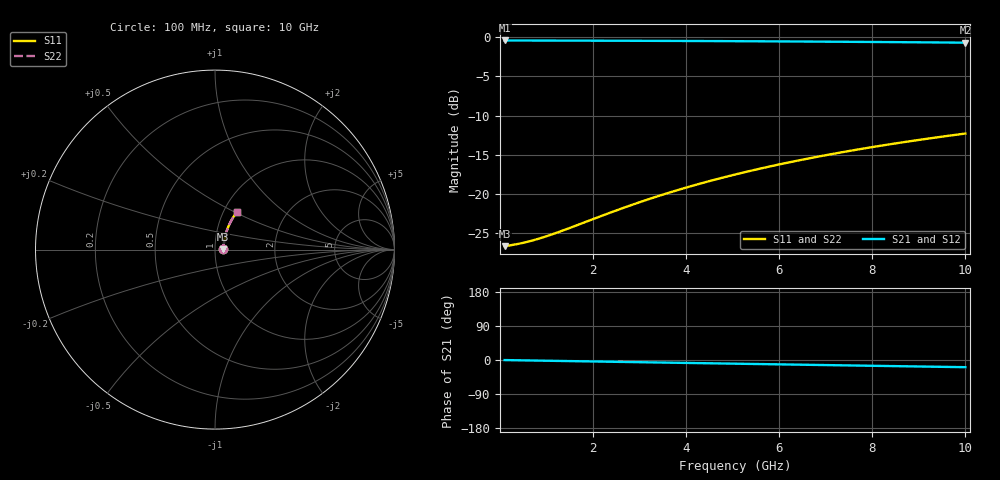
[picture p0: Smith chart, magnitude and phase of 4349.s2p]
# Hz S RI R 50.00
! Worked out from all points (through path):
!   100 points, 100 MHz to 10 GHz, reference 50 ohm
!   highest |S21| = -0.41 dB at 100 MHz (marker M1); lowest = -0.7 dB at 10 GHz (marker M2)
!   group delay of S21, straight-line fit = 5.27 ps
!   lowest |S11| = -26.7 dB at 100 MHz (marker M3), VSWR 1.10, Z = 54.8 + j0.255 ohm
!   |S11| at or under -10 dB: start of sweep to end of sweep
!   |S22| runs from -26.7 to -12.3 dB; largest |S21 - S12| = 0
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1e8  0.0462 0.00232  0.9538 -0.00322  0.9538 -0.00322  0.0462 0.00232
3e8  0.0468 0.00695  0.9532 -0.00966  0.9532 -0.00966  0.0468 0.00695
5e8  0.0472 0.0116  0.9528 -0.0161  0.9528 -0.0161  0.0472 0.0116
8e8  0.0479 0.0185  0.9521 -0.0257  0.9521 -0.0257  0.0479 0.0185
1e9  0.0483 0.0231  0.9516 -0.0321  0.9516 -0.0321  0.0483 0.0231
1.2e9  0.0488 0.0277  0.9511 -0.0385  0.9511 -0.0385  0.0488 0.0277
1.8e9  0.0506 0.0414  0.9493 -0.0577  0.9493 -0.0577  0.0506 0.0414
2.3e9  0.0524 0.0528  0.9473 -0.0736  0.9473 -0.0736  0.0524 0.0528
2.7e9  0.0541 0.0619  0.9455 -0.0862  0.9455 -0.0862  0.0541 0.0619
3.1e9  0.0561 0.0708  0.9435 -0.0988  0.9435 -0.0988  0.0561 0.0708
3.4e9  0.0577 0.0775  0.9418 -0.1082  0.9418 -0.1082  0.0577 0.0775
3.8e9  0.06 0.0864  0.9393 -0.1207  0.9393 -0.1207  0.06 0.0864
4.2e9  0.0626 0.0952  0.9367 -0.1331  0.9367 -0.1331  0.0626 0.0952
4.6e9  0.0654 0.1038  0.9337 -0.1454  0.9337 -0.1454  0.0654 0.1038
5.1e9  0.0691 0.1146  0.9297 -0.1606  0.9297 -0.1606  0.0691 0.1146
5.5e9  0.0724 0.123  0.9263 -0.1727  0.9263 -0.1727  0.0724 0.123
5.9e9  0.0759 0.1314  0.9226 -0.1847  0.9226 -0.1847  0.0759 0.1314
6.7e9  0.0835 0.1477  0.9146 -0.2083  0.9146 -0.2083  0.0835 0.1477
7.5e9  0.0918 0.1636  0.9058 -0.2314  0.9058 -0.2314  0.0918 0.1636
8.4e9  0.1021 0.1807  0.8948 -0.2567  0.8948 -0.2567  0.1021 0.1807
9.2e9  0.1121 0.1953  0.8843 -0.2786  0.8843 -0.2786  0.1121 0.1953
1e10  0.1226 0.2092  0.8731 -0.2998  0.8731 -0.2998  0.1226 0.2092
